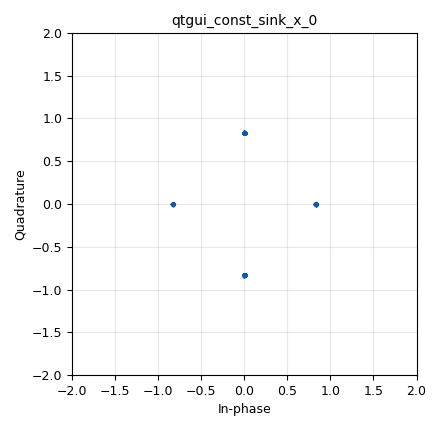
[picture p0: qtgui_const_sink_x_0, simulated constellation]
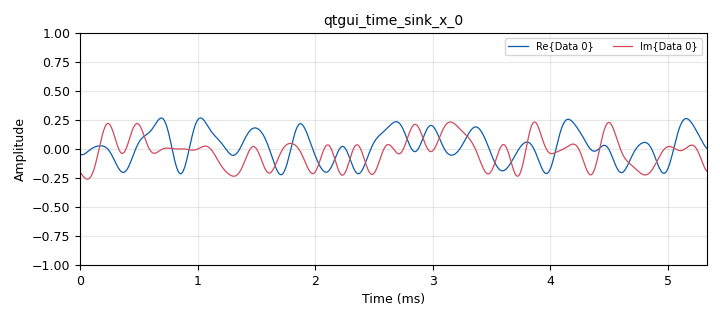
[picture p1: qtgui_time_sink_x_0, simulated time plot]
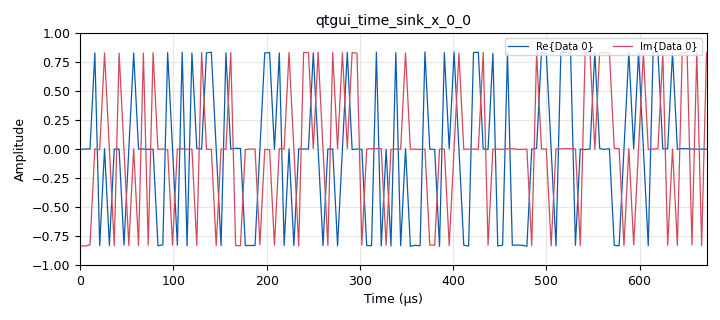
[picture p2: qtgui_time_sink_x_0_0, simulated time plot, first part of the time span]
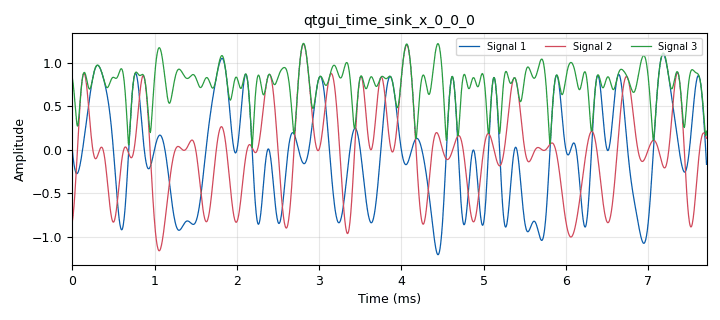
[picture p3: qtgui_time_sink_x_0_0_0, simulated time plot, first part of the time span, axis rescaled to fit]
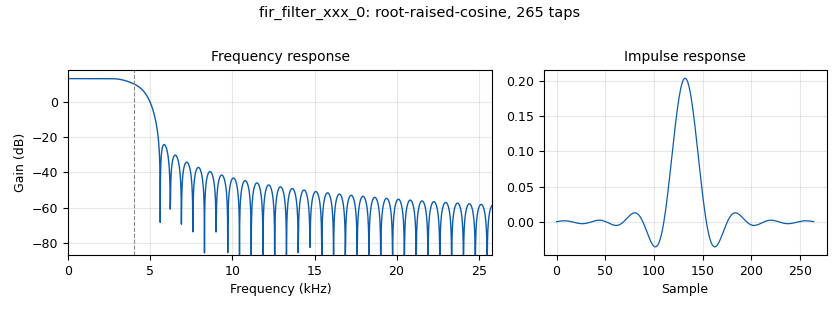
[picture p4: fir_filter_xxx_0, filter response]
options:
  parameters:
    author: YASH
    generate_options: qt_gui
    id: matched_filter_nosie
    output_language: python
    title: Not titled yet
  states: {}

blocks:
- name: delay_checker
  id: variable_qtgui_range
  parameters:
    rangeType: int
    start: '0'
    step: '1'
    stop: sps
    value: '0'
  states: {}
- name: my_const
  id: variable_constellation
  parameters:
    const_points: '[1, 1j, -1, -1j]'
    dims: '1'
    normalization: digital.constellation.AMPLITUDE_NORMALIZATION
    precision: '8'
    rot_sym: '4'
    sym_map: '[0, 1, 3, 2]'
    type: calcdist
  states: {}
- name: noise_std
  id: variable_qtgui_range
  parameters:
    start: '0'
    step: '0.1'
    stop: '10'
    value: '0'
  states: {}
- name: random_delay
  id: variable_qtgui_range
  parameters:
    rangeType: int
    start: '0'
    step: '1'
    stop: sps
    value: '0'
  states: {}
- name: rrc_taps
  id: variable_rrc_filter_taps
  parameters:
    alpha: '0.35'
    gain: '4.48'
    ntaps: 11*sps
    samp_rate: samp_rate
    sym_rate: '8000'
  states: {}
- name: samp_rate
  id: variable
  parameters:
    value: '192000'
  states: {}
- name: sps
  id: variable
  parameters:
    value: samp_rate // 8000
  states: {}
- name: analog_noise_source_x_0
  id: analog_noise_source_x
  parameters:
    amp: noise_std
    noise_type: analog.GR_GAUSSIAN
    seed: '0'
    type: complex
  states: {}
- name: analog_random_source_x_0
  id: analog_random_source_x
  parameters:
    max: '4'
    min: '0'
    num_samps: '1000'
    repeat: 'True'
    type: byte
  states: {}
- name: blocks_add_xx_0
  id: blocks_add_xx
  parameters:
    type: complex
  states: {}
- name: blocks_complex_to_float_0
  id: blocks_complex_to_float
  parameters: {}
  states: {}
- name: blocks_complex_to_mag_0
  id: blocks_complex_to_mag
  parameters: {}
  states: {}
- name: blocks_delay_0
  id: blocks_delay
  parameters:
    delay: random_delay
    type: complex
  states: {}
- name: blocks_delay_0_0
  id: blocks_delay
  parameters:
    delay: sps - delay_checker
    type: complex
  states: {}
- name: blocks_throttle2_0
  id: blocks_throttle2
  parameters:
    samples_per_second: samp_rate
    type: complex
  states: {}
- name: digital_constellation_encoder_bc_0
  id: digital_constellation_encoder_bc
  parameters:
    constellation: my_const
  states: {}
- name: fir_filter_xxx_0
  id: fir_filter_xxx
  parameters:
    decim: sps
    taps: rrc_taps
    type: ccc
  states: {}
- name: fir_filter_xxx_0_0
  id: fir_filter_xxx
  parameters:
    decim: '1'
    taps: rrc_taps
    type: ccc
  states: {}
- name: import_0
  id: import
  parameters:
    imports: import numpy as np
  states: {}
- name: interp_fir_filter_xxx_0
  id: interp_fir_filter_xxx
  parameters:
    interp: sps
    taps: rrc_taps
    type: ccc
  states: {}
- name: qtgui_const_sink_x_0
  id: qtgui_const_sink_x
  parameters:
    size: '1024'
    type: complex
  states: {}
- name: qtgui_time_sink_x_0
  id: qtgui_time_sink_x
  parameters:
    size: '1024'
    srate: samp_rate
    type: complex
  states: {}
- name: qtgui_time_sink_x_0_0
  id: qtgui_time_sink_x
  parameters:
    size: '1024'
    srate: samp_rate
    type: complex
  states: {}
- name: qtgui_time_sink_x_0_0_0
  id: qtgui_time_sink_x
  parameters:
    grid: 'True'
    nconnections: '3'
    size: 1000*sps
    srate: samp_rate
    type: float
  states: {}

connections:
- [analog_noise_source_x_0, '0', blocks_add_xx_0, '1']
- [analog_random_source_x_0, '0', digital_constellation_encoder_bc_0, '0']
- [blocks_add_xx_0, '0', blocks_delay_0, '0']
- [blocks_complex_to_float_0, '0', qtgui_time_sink_x_0_0_0, '0']
- [blocks_complex_to_float_0, '1', qtgui_time_sink_x_0_0_0, '1']
- [blocks_complex_to_mag_0, '0', qtgui_time_sink_x_0_0_0, '2']
- [blocks_delay_0, '0', blocks_delay_0_0, '0']
- [blocks_delay_0_0, '0', fir_filter_xxx_0, '0']
- [blocks_delay_0_0, '0', fir_filter_xxx_0_0, '0']
- [blocks_throttle2_0, '0', interp_fir_filter_xxx_0, '0']
- [digital_constellation_encoder_bc_0, '0', blocks_throttle2_0, '0']
- [fir_filter_xxx_0, '0', qtgui_const_sink_x_0, '0']
- [fir_filter_xxx_0, '0', qtgui_time_sink_x_0_0, '0']
- [fir_filter_xxx_0_0, '0', blocks_complex_to_float_0, '0']
- [fir_filter_xxx_0_0, '0', blocks_complex_to_mag_0, '0']
- [interp_fir_filter_xxx_0, '0', blocks_add_xx_0, '0']
- [interp_fir_filter_xxx_0, '0', qtgui_time_sink_x_0, '0']

metadata:
  file_format: 1
  grc_version: 3.10.7.0
